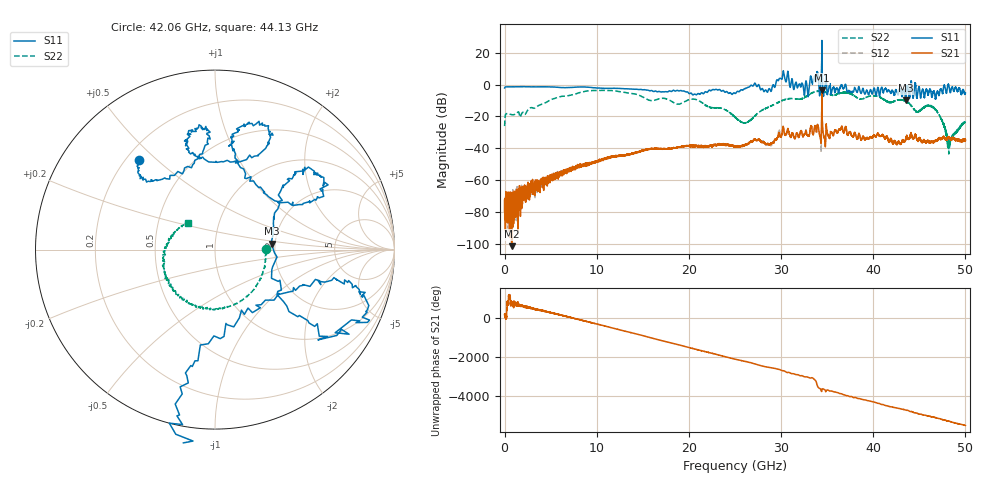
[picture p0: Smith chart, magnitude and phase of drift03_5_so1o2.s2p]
!Created with skrf (http://scikit-rf.org).
# Hz S RI R 50.0
!freq ReS11 ImS11 ReS21 ImS21 ReS12 ImS12 ReS22 ImS22
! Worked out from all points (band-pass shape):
!   10000 points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, 5.3 MHz to 50 GHz, reference 50 ohm
!   highest |S21| = -3.66 dB at 34.43 GHz (marker M1); lowest = -101.5 dB at 770.3 MHz (marker M2)
!   |S21| within 3 dB of the highest: 34.42709 GHz to 34.43393 GHz (6.846 MHz wide, 0.0199 % of centre)
!   lowest |S11| = -9.9 dB at 43.53 GHz (marker M3), VSWR 1.94, Z = 96.2 + j7.12 ohm
!   |S11| at or under -10 dB: nowhere
!   |S22| runs from -43.6 to -3.6 dB; largest |S21 - S12| = 0.21
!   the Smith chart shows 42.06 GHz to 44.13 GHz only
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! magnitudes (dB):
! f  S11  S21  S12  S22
! 5.3 MHz  -2.1  -79.6  -72.8  -26.0
! 770.3 MHz  -1.4  -101.5  -71.4  -18.9
! 4.165 GHz  -1.4  -59.8  -60.9  -12.1
! 8.34 GHz  -1.5  -50.6  -51.5  -4.7
! 16.67 GHz  -4.4  -40.3  -40.4  -9.1
! 20.72 GHz  -6.3  -38.3  -38.9  -9.3
! 25.01 GHz  -5.5  -38.9  -38.9  -20.6
! 26.23 GHz  -2.2  -37.4  -37.3  -23.8
! 28.72 GHz  -2.5  -37.8  -37.4  -14.0
! 30.14 GHz  4.3  -29.4  -29.8  -10.0
! 32.74 GHz  2.1  -29.5  -29.1  -7.5
! 33.34 GHz  2.5  -27.4  -27.7  -5.3
! 33.82 GHz  3.9  -28.9  -29.4  -4.4
! 34.43 GHz  27.7  -3.7  -5.8  -4.1
! 36.47 GHz  -1.0  -28.1  -28.1  -5.3
! 41.67 GHz  -3.4  -35.5  -35.5  -10.9
! 43.53 GHz  -9.9  -34.7  -34.6  -10.3
! 44.74 GHz  -8.2  -34.6  -34.2  -17.3
! 46.64 GHz  -5.0  -35.5  -35.2  -15.4
! 47.52 GHz  -5.7  -34.1  -33.6  -23.8
! 48.22 GHz  -1.0  -33.9  -33.4  -37.7
! 50 GHz  -5.4  -35.1  -35.1  -23.2
